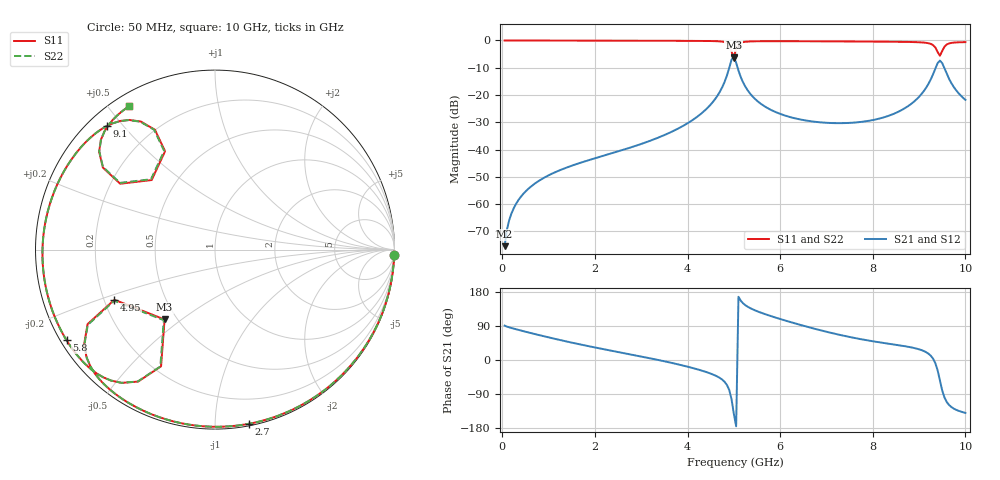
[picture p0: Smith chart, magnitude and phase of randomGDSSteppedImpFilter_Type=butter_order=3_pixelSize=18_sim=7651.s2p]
! freq	dB(S11)	phase(S11)	dB(S12)	phase(S12)
!  dB(S21)	phase(S21)	dB(S22)	phase(S22)
!S-par simulation data
#  GHz  S  DB  R 50
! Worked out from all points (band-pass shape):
!   200 points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, 50 MHz to 10 GHz, reference 50 ohm
!   highest |S21| = -6.03 dB at 5 GHz (marker M1); lowest = -75.4 dB at 50 MHz (marker M2)
!   |S21| within 3 dB of the highest: 4.918 GHz to 5.065 GHz (147 MHz wide, 2.95 % of centre); 9.383 GHz to 9.518 GHz (135 MHz wide, 1.43 % of centre)
!   lowest |S11| = -6.4 dB at 5 GHz (marker M3), VSWR 2.85, Z = 21.5 - j21.7 ohm
!   |S11| at or under -10 dB: nowhere
!   |S22| runs from -6.3 to 0.0 dB; largest |S21 - S12| = 0
!   S11 on the Smith chart (normalised r, x): 50 MHz: 2, -72; 2.7 GHz: 0.01, -1.21; 4.95 GHz: 0.24, -0.22; 5.8 GHz: 0.02, -0.28; 9.1 GHz: 0.05, +0.45; 10 GHz: 0.05, +0.57
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0.05  -0.01 -1.6  -75.40 90.7  -75.40 90.7  -0.01 -1.6
0.1  -0.01 -3.1  -69.34 88.0  -69.34 88.0  -0.01 -3.1
0.2  -0.02 -6.2  -63.31 84.3  -63.31 84.3  -0.02 -6.2
0.5  -0.02 -15.4  -55.38 74.7  -55.38 74.7  -0.02 -15.4
1.75  -0.07 -52.6  -44.49 39.3  -44.49 39.3  -0.06 -52.6
2.7  -0.10 -79.0  -39.62 16.3  -39.62 16.3  -0.10 -79.0
3.4  -0.12 -97.4  -35.39 -0.8  -35.39 -0.8  -0.12 -97.3
4.45  -0.20 -125.2  -24.40 -33.7  -24.40 -33.7  -0.20 -125.1
4.85  -0.90 -144.0  -12.89 -65.7  -12.89 -65.7  -0.89 -143.8
4.95  -4.06 -153.5  -7.10 -103.3  -7.10 -103.3  -4.02 -153.1
5  -6.37 -125.8  -6.03 -142.0  -6.03 -142.0  -6.27 -125.9
5.05  -2.90 -114.8  -8.21 -174.9  -8.21 -174.9  -2.87 -115.1
5.3  -0.41 -133.6  -18.31 140.5  -18.31 140.5  -0.41 -133.6
5.8  -0.27 -148.6  -25.45 115.9  -25.45 115.9  -0.27 -148.5
6.7  -0.31 -169.4  -29.71 83.9  -29.71 83.9  -0.31 -169.4
8.35  -0.46 152.9  -27.57 42.8  -27.57 42.8  -0.46 152.9
9.1  -0.78 131.0  -18.60 23.8  -18.60 23.8  -0.77 131.2
9.3  -1.68 120.1  -12.48 3.9  -12.48 3.9  -1.66 120.3
9.4  -4.23 116.9  -8.34 -27.1  -8.34 -27.1  -4.17 117.3
9.45  -5.61 132.3  -7.38 -54.0  -7.38 -54.0  -5.51 132.3
9.6  -1.46 139.8  -12.36 -111.3  -12.36 -111.3  -1.45 139.6
10  -0.62 120.9  -21.77 -139.7  -21.77 -139.7  -0.62 120.9
